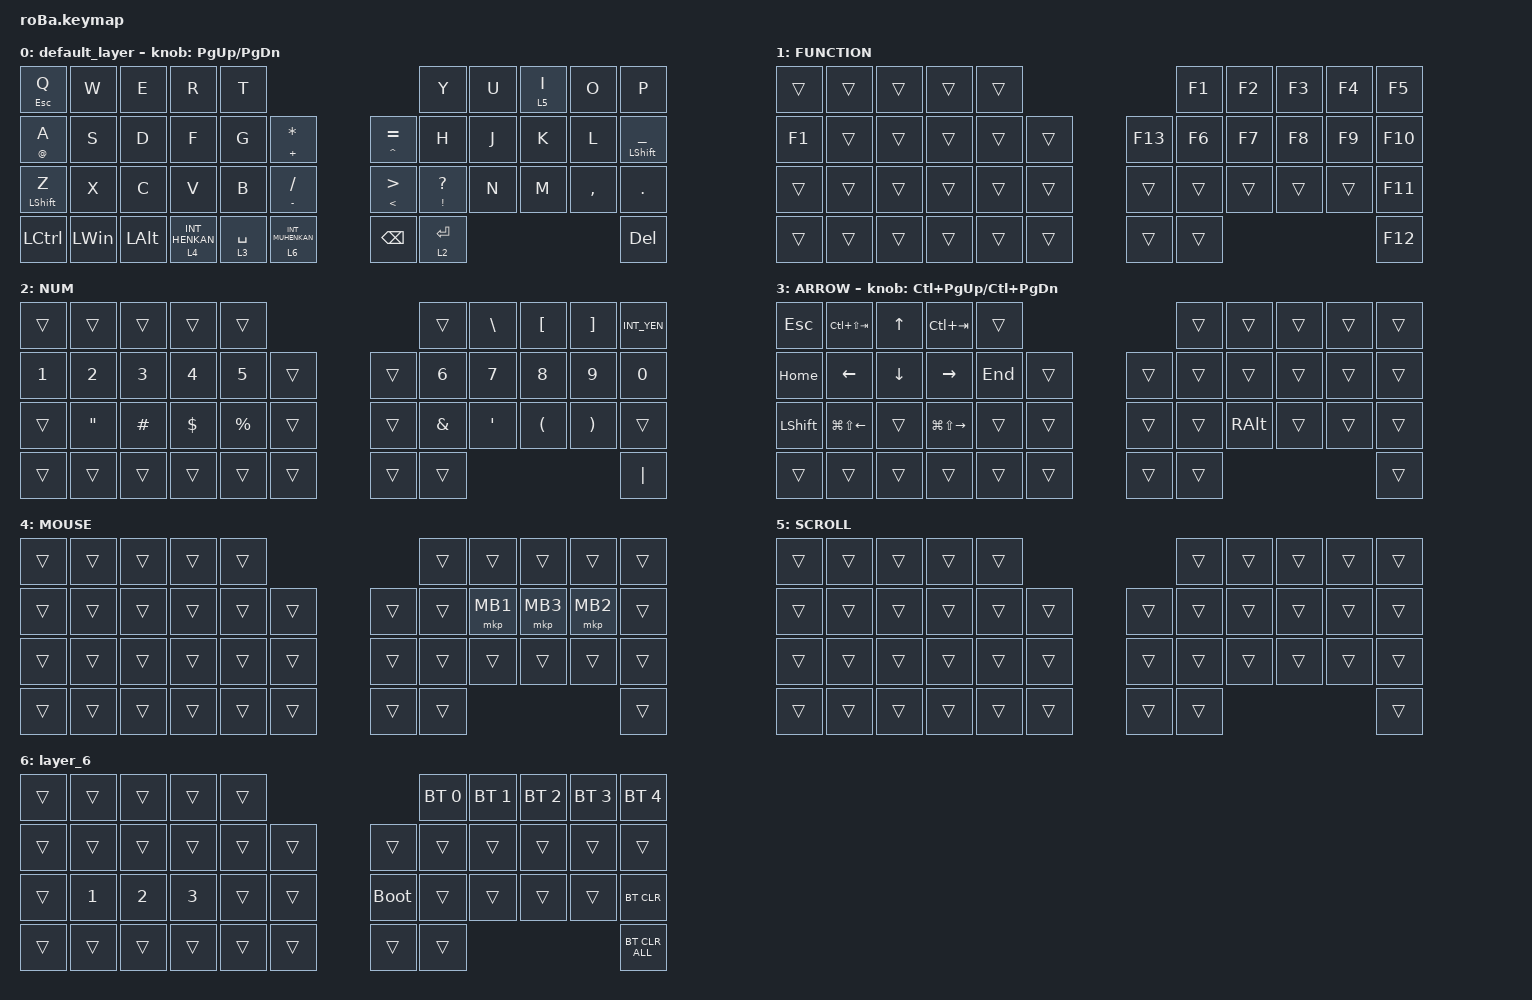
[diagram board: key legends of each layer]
#include <behaviors.dtsi>
#include <dt-bindings/zmk/bt.h>
#include <dt-bindings/zmk/keys.h>
#include <dt-bindings/zmk/pointing.h>

&mt {
    flavor = "balanced";
    quick-tap-ms = <0>;
};

&trackball {
    automouse-layer = <4>;
    scroll-layers = <5>;

    // arrows {
    //     layers = <3>;
    //     bindings =
    //         <&kp RIGHT_ARROW>,
    //         <&kp LEFT_ARROW>,
    //         <&kp UP_ARROW>,
    //         <&kp DOWN_ARROW>;
    //     tick = <10>;
    //     wait-ms = <5>;
    //     tap-ms = <5>;
    // };
};

/ {
    combos {
        compatible = "zmk,combos";

        tab {
            bindings = <&kp TAB>;
            key-positions = <11 10>;
        };

        shift_tab {
            bindings = <&kp LS(TAB)>;
            key-positions = <12 13>;
        };

        home {
            bindings = <&kp HOME>;
            key-positions = <18 19>;
        };

        end {
            bindings = <&kp END>;
            key-positions = <20 21>;
        };

        eq {
            bindings = <&kp EQUAL>;
            key-positions = <24 25>;
        };
    };

    macros {
        to_layer_0: to_layer_0 {
            compatible = "zmk,behavior-macro-one-param";
            #binding-cells = <1>;
            bindings = <&to 0 &macro_param_1to1 &kp MACRO_PLACEHOLDER>;
            label = "TO_LAYER_0";
        };
    };

    behaviors {
        lt_to_layer_0: lt_to_layer_0 {
            compatible = "zmk,behavior-hold-tap";
            label = "LAYER_TAP_TO_0";
            bindings = <&mo>, <&to_layer_0>;

            #binding-cells = <2>;
            tapping-term-ms = <200>;
        };
    };

    keymap {
        compatible = "zmk,keymap";

        default_layer {
            bindings = <
&mt ESCAPE Q      &kp W         &kp E         &kp R                        &kp T                                                                       &kp Y              &kp U  &lt 5 I  &kp O      &kp P
&mt AT A          &kp S         &kp D         &kp F                        &kp G        &mt PLUS ASTERISK                  &mt CARET EQUAL             &kp H              &kp J  &kp K    &kp L      &mt LEFT_SHIFT UNDER
&mt LEFT_SHIFT Z  &kp X         &kp C         &kp V                        &kp B        &mt MINUS SLASH                    &mt LESS_THAN GREATER_THAN  &mt EXCL QUESTION  &kp N  &kp M    &kp COMMA  &kp DOT
&kp LCTRL         &kp LEFT_WIN  &kp LEFT_ALT  &lt_to_layer_0 4 INT_HENKAN  &lt 3 SPACE  &lt_to_layer_0 6 INT_MUHENKAN      &kp BACKSPACE               &lt 2 ENTER                                   &kp DEL
            >;

            sensor-bindings = <&inc_dec_kp PG_UP PAGE_DOWN>;
        };

        FUNCTION {
            bindings = <
&trans  &trans  &trans  &trans  &trans                       &kp F1  &kp F2  &kp F3  &kp F4  &kp F5
&kp F1  &trans  &trans  &trans  &trans  &trans      &kp F13  &kp F6  &kp F7  &kp F8  &kp F9  &kp F10
&trans  &trans  &trans  &trans  &trans  &trans      &trans   &trans  &trans  &trans  &trans  &kp F11
&trans  &trans  &trans  &trans  &trans  &trans      &trans   &trans                          &kp F12
            >;
        };

        NUM {
            bindings = <
&trans  &trans             &trans    &trans      &trans                           &trans    &kp BACKSLASH     &kp LEFT_BRACKET      &kp RIGHT_BRACKET      &kp INT_YEN
&kp N1  &kp N2             &kp N3    &kp N4      &kp N5       &trans      &trans  &kp N6    &kp N7            &kp N8                &kp N9                 &kp N0
&trans  &kp DOUBLE_QUOTES  &kp HASH  &kp DOLLAR  &kp PERCENT  &trans      &trans  &kp AMPS  &kp SINGLE_QUOTE  &kp LEFT_PARENTHESIS  &kp RIGHT_PARENTHESIS  &trans
&trans  &trans             &trans    &trans      &trans       &trans      &trans  &trans                                                                   &kp PIPE
            >;
        };

        ARROW {
            bindings = <
&kp ESCAPE      &kp LC(LS(TAB))         &kp UP_ARROW    &kp LC(TAB)              &trans                       &trans  &trans         &trans  &trans  &trans
&kp HOME        &kp LEFT_ARROW          &kp DOWN_ARROW  &kp RIGHT_ARROW          &kp END  &trans      &trans  &trans  &trans         &trans  &trans  &trans
&kp LEFT_SHIFT  &kp LG(LS(LEFT_ARROW))  &trans          &kp LG(LS(RIGHT_ARROW))  &trans   &trans      &trans  &trans  &kp RIGHT_ALT  &trans  &trans  &trans
&trans          &trans                  &trans          &trans                   &trans   &trans      &trans  &trans                                 &trans
            >;

            sensor-bindings = <&inc_dec_kp LC(PAGE_UP) LC(PAGE_DOWN)>;
        };

        MOUSE {
            bindings = <
&trans  &trans  &trans  &trans  &trans                      &trans  &trans    &trans    &trans    &trans
&trans  &trans  &trans  &trans  &trans  &trans      &trans  &trans  &mkp MB1  &mkp MB3  &mkp MB2  &trans
&trans  &trans  &trans  &trans  &trans  &trans      &trans  &trans  &trans    &trans    &trans    &trans
&trans  &trans  &trans  &trans  &trans  &trans      &trans  &trans                                &trans
            >;
        };

        SCROLL {
            bindings = <
&trans  &trans  &trans  &trans  &trans                      &trans  &trans  &trans  &trans  &trans
&trans  &trans  &trans  &trans  &trans  &trans      &trans  &trans  &trans  &trans  &trans  &trans
&trans  &trans  &trans  &trans  &trans  &trans      &trans  &trans  &trans  &trans  &trans  &trans
&trans  &trans  &trans  &trans  &trans  &trans      &trans  &trans                          &trans
            >;
        };

        layer_6 {
            bindings = <
&trans  &trans        &trans        &trans        &trans                           &bt BT_SEL 0  &bt BT_SEL 1  &bt BT_SEL 2  &bt BT_SEL 3  &bt BT_SEL 4
&trans  &trans        &trans        &trans        &trans  &trans      &trans       &trans        &trans        &trans        &trans        &trans
&trans  &kp NUMBER_1  &kp NUMBER_2  &kp NUMBER_3  &trans  &trans      &bootloader  &trans        &trans        &trans        &trans        &bt BT_CLR
&trans  &trans        &trans        &trans        &trans  &trans      &trans       &trans                                                  &bt BT_CLR_ALL
            >;
        };
    };
};
